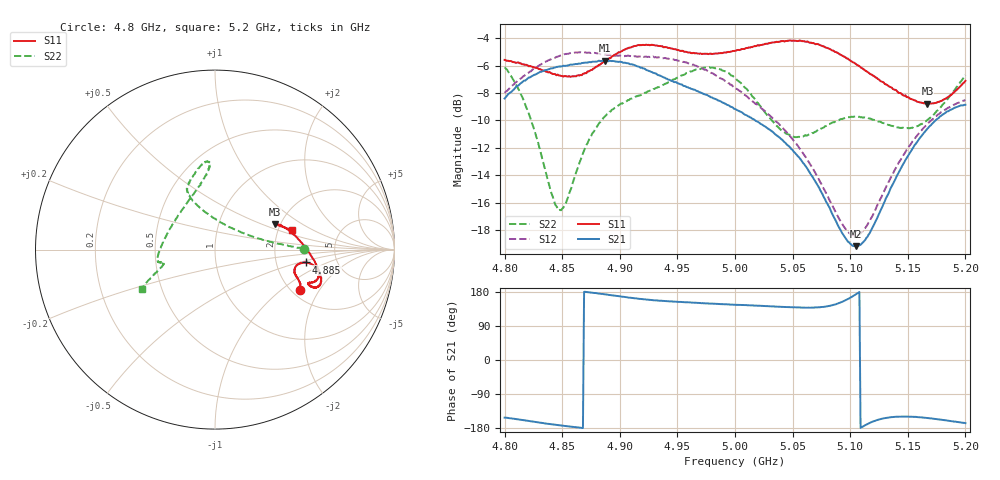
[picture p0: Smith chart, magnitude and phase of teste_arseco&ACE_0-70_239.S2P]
! Network Analyzer HP8722D
! Hewlett-Packard
! Data name: Linha & Wilkinson
! Saver's name: Rodrigo Anjos
! Comments: Teste da utilização de aquisição
! continua pelo VNA HP8722D
! Time and date: 8/5/2025 14:45
!  Frequency  S11  S21  S12  S22
# HZ  S  MA R 50
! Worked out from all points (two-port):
!   401 points, 4.8 GHz to 5.2 GHz, reference 50 ohm
!   highest |S21| = -5.63 dB at 4.887 GHz (marker M1); lowest = -19.2 dB at 5.105 GHz (marker M2)
!   |S21| within 3 dB of the highest: start of sweep to 4.988 GHz
!   lowest |S11| = -8.8 dB at 5.167 GHz (marker M3), VSWR 2.14, Z = 93.6 + j30.8 ohm
!   |S11| at or under -10 dB: nowhere
!   |S22| runs from -16.6 to -6.1 dB; largest |S21 - S12| = 1.1
!   S11 on the Smith chart (normalised r, x): 4.8 GHz: 2.23, -1.37; 4.885 GHz: 2.98, -0.58; 5.2 GHz: 2.36, +0.65
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4.8e9  0.5255 -25.1  0.3799 -152.0  0.3985 7.3  0.4936 0.6
4.82e9  0.5022 -20.6  0.4496 -160.2  0.4709 4.5  0.3435 5.9
4.846e9  0.4648 -16.2  0.4955 -171.7  0.5399 0.3  0.1509 54.1
4.853e9  0.4585 -14.5  0.5001 -174.4  0.5525 -1.0  0.1567 80.5
4.867e9  0.4623 -10.7  0.5121 -179.3  0.5592 -2.8  0.2324 107.8
4.885e9  0.513 -8.0  0.5218 174.4  0.5535 -4.0  0.3194 115.1
4.887e9  0.52 -8.0  0.5228 173.4  0.551 -4.0  0.3265 115.4
4.914e9  0.5908 -12.3  0.5002 162.7  0.541 -3.1  0.3866 113.2
4.934e9  0.5907 -16.7  0.4619 156.4  0.5372 -4.0  0.4182 107.7
4.975e9  0.5531 -20.0  0.3923 149.4  0.4834 -7.4  0.4924 95.6
5e9  0.5671 -20.8  0.3475 145.8  0.4171 -7.3  0.4514 94.7
5.017e9  0.5901 -20.9  0.3175 143.7  0.3662 -4.8  0.3794 101.6
5.042e9  0.6155 -19.1  0.2659 140.1  0.2949 0.5  0.2876 129.5
5.067e9  0.6051 -14.1  0.1976 138.2  0.213 8.5  0.2843 165.4
5.094e9  0.5424 -4.4  0.1209 155.0  0.1304 34.6  0.3209 -173.2
5.105e9  0.508 0.9  0.1099 173.5  0.1202 56.0  0.3265 -169.5
5.115e9  0.4753 6.1  0.119 -168.9  0.1317 74.9  0.3233 -167.9
5.134e9  0.4198 15.4  0.174 -151.3  0.1905 94.1  0.304 -166.5
5.152e9  0.3793 21.7  0.2414 -149.6  0.2568 99.0  0.2961 -164.7
5.167e9  0.3635 23.1  0.2948 -153.2  0.3066 99.6  0.3174 -161.6
5.182e9  0.3779 20.9  0.3356 -158.8  0.3449 99.6  0.3673 -157.9
5.2e9  0.4406 14.6  0.3604 -166.5  0.3753 100.1  0.4633 -152.1
